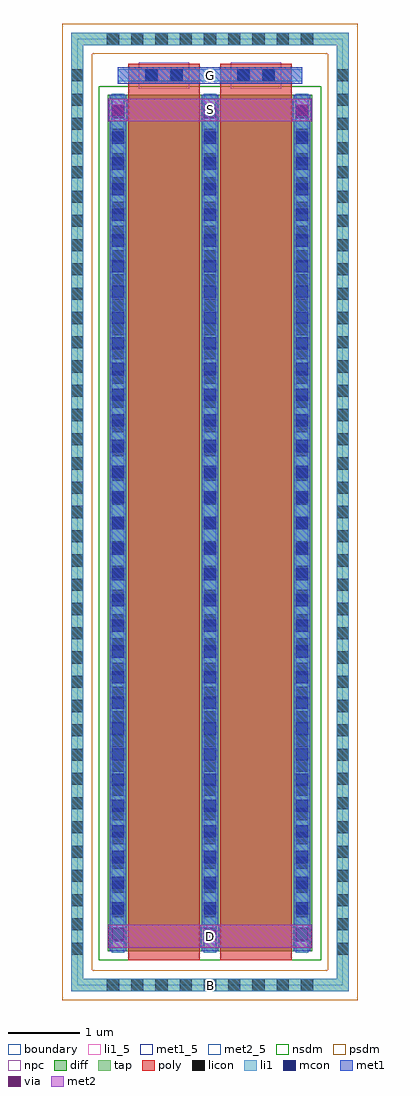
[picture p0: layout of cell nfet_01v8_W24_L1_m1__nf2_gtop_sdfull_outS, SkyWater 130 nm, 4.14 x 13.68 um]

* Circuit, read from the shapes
.subckt nfet_01v8_W24_L1_m1__nf2_gtop_sdfull_outS B D G S
XM1 D G S B sky130_fd_pr__nfet_01v8 w=12 l=1 m=2
.ends

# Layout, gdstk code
import gdstk
lib = gdstk.Library(unit=1e-6, precision=1e-09)
def R(c, l, rs):  # rectangles x0, y0, x1, y1
    for r in rs: c.add(gdstk.rectangle(r[:2], r[2:], *l))
def A(c, l, x, y, w, h, nx, ny, dx, dy):  # array of equal rectangles
    R(c, l, [(x+i*dx, y+j*dy, x+i*dx+w, y+j*dy+h) for i in range(nx) for j in range(ny)])
diff = (65, 20)
tap = (65, 44)
poly = (66, 20)
licon = (66, 44)
li1_5 = (67, 5)
li1 = (67, 20)
mcon = (67, 44)
met1_5 = (68, 5)
met1 = (68, 20)
via = (68, 44)
met2_5 = (69, 5)
met2 = (69, 20)
nsdm = (93, 44)
psdm = (94, 20)
npc = (95, 20)
boundary = (235, 4)

sky130_fd_pr__nfet_01v8_ = lib.new_cell('sky130_fd_pr__nfet_01v8_NJWXHF')
R(sky130_fd_pr__nfet_01v8_, diff, [(-1.435,-6.155,1.435,5.845)])
R(sky130_fd_pr__nfet_01v8_, tap, [(-1.945,-6.715,1.945,-6.545), (-1.945,-6.545,-1.775,6.545), (1.775,-6.545,1.945,6.545), (-1.945,6.545,1.945,6.715)])
R(sky130_fd_pr__nfet_01v8_, poly, [(-1.145,-6.285,-0.145,6.285), (0.145,-6.285,1.145,6.285)])
A(sky130_fd_pr__nfet_01v8_, licon, -1.445, -6.715, 0.17, 0.17, 9, 2, 0.34, 13.26)
A(sky130_fd_pr__nfet_01v8_, licon, -1.945, -6.205, 0.17, 0.17, 1, 37, 0, 0.34)
A(sky130_fd_pr__nfet_01v8_, licon, 1.775, -6.205, 0.17, 0.17, 1, 37, 0, 0.34)
A(sky130_fd_pr__nfet_01v8_, licon, -1.375, -6.02, 0.17, 0.17, 3, 35, 1.29, 0.34)
R(sky130_fd_pr__nfet_01v8_, licon, [(-0.9,6.035,-0.73,6.205), (-0.56,6.035,-0.39,6.205), (0.39,6.035,0.56,6.205), (0.73,6.035,0.9,6.205)])
A(sky130_fd_pr__nfet_01v8_, li1, -1.375, -6.175, 0.17, 12.04, 3, 1, 1.29, 0)
R(sky130_fd_pr__nfet_01v8_, li1, [(-1.945,-6.715,1.945,-6.545), (-1.945,-6.545,-1.775,6.545), (1.775,-6.545,1.945,6.545), (-1.29,6.035,1.29,6.205), (-1.945,6.545,1.945,6.715)])
A(sky130_fd_pr__nfet_01v8_, mcon, -1.375, -6, 0.17, 0.17, 3, 33, 1.29, 0.36)
R(sky130_fd_pr__nfet_01v8_, mcon, [(-0.91,6.035,-0.74,6.205), (-0.55,6.035,-0.38,6.205), (0.38,6.035,0.55,6.205), (0.74,6.035,0.91,6.205)])
A(sky130_fd_pr__nfet_01v8_, met1, -1.405, -6.155, 0.23, 12, 3, 1, 1.29, 0)
R(sky130_fd_pr__nfet_01v8_, met1, [(-1.125,6.005,-0.165,6.035), (0.165,6.005,1.125,6.035), (-1.29,6.035,1.29,6.205), (-1.125,6.205,-0.165,6.235), (0.165,6.205,1.125,6.235)])
R(sky130_fd_pr__nfet_01v8_, nsdm, [(-1.56,-6.28,1.56,5.97)])
R(sky130_fd_pr__nfet_01v8_, psdm, [(-2.07,-6.84,2.07,-6.42), (-2.07,-6.42,-1.65,6.42), (1.65,-6.42,2.07,6.42), (-2.07,6.42,2.07,6.84)])
R(sky130_fd_pr__nfet_01v8_, npc, [(-1,5.935,-0.29,6.305), (0.29,5.935,1,6.305)])
R(sky130_fd_pr__nfet_01v8_, boundary, [(-1.86,-6.63,1.86,6.63)])
sky130_fd_pr__nfet_01v8_.add(gdstk.Label('B', (0,-6.63), layer=67, texttype=5))
sky130_fd_pr__nfet_01v8_.add(gdstk.Label('D0', (-1.29,-0.155), layer=67, texttype=5))
sky130_fd_pr__nfet_01v8_.add(gdstk.Label('G', (0.645,6.12), layer=67, texttype=5))
sky130_fd_pr__nfet_01v8_.add(gdstk.Label('G', (-0.645,6.12), layer=67, texttype=5))
sky130_fd_pr__nfet_01v8_.add(gdstk.Label('S1', (0,-0.155), layer=67, texttype=5))

nfet_01v8_w24_l1_m1__nf2 = lib.new_cell('nfet_01v8_W24_L1_m1__nf2_gtop_sdfull_outS')
R(nfet_01v8_w24_l1_m1__nf2, li1_5, [(1.775,-0.085,1.945,0.085)])
R(nfet_01v8_w24_l1_m1__nf2, li1, [(1.775,-0.085,1.945,0.085)])
R(nfet_01v8_w24_l1_m1__nf2, met1_5, [(0.57,12.635,3.15,12.865)])
R(nfet_01v8_w24_l1_m1__nf2, met1, [(1.73,0.525,1.99,0.845), (0.44,12.105,0.7,12.425), (3.02,12.105,3.28,12.425), (0.57,12.635,3.15,12.865)])
R(nfet_01v8_w24_l1_m1__nf2, via, [(1.785,0.61,1.935,0.76), (0.495,12.19,0.645,12.34), (3.075,12.19,3.225,12.34)])
R(nfet_01v8_w24_l1_m1__nf2, met2_5, [(0.435,0.525,3.285,0.845), (0.435,12.105,3.285,12.425)])
R(nfet_01v8_w24_l1_m1__nf2, met2, [(0.435,0.525,3.285,0.845), (0.435,12.105,3.285,12.425)])
nfet_01v8_w24_l1_m1__nf2.add(gdstk.Reference(sky130_fd_pr__nfet_01v8_, (1.86,6.63)))
nfet_01v8_w24_l1_m1__nf2.add(gdstk.Label('S', (1.86,12.265), layer=69, texttype=5))
nfet_01v8_w24_l1_m1__nf2.add(gdstk.Label('D', (1.86,0.685), layer=69, texttype=5))
nfet_01v8_w24_l1_m1__nf2.add(gdstk.Label('G', (1.86,12.75), layer=68, texttype=5))
nfet_01v8_w24_l1_m1__nf2.add(gdstk.Label('B', (1.86,0), layer=67, texttype=5))

lib.write_gds('nfet_01v8_W24_L1_m1__nf2_gtop_sdfull_outS.gds')
